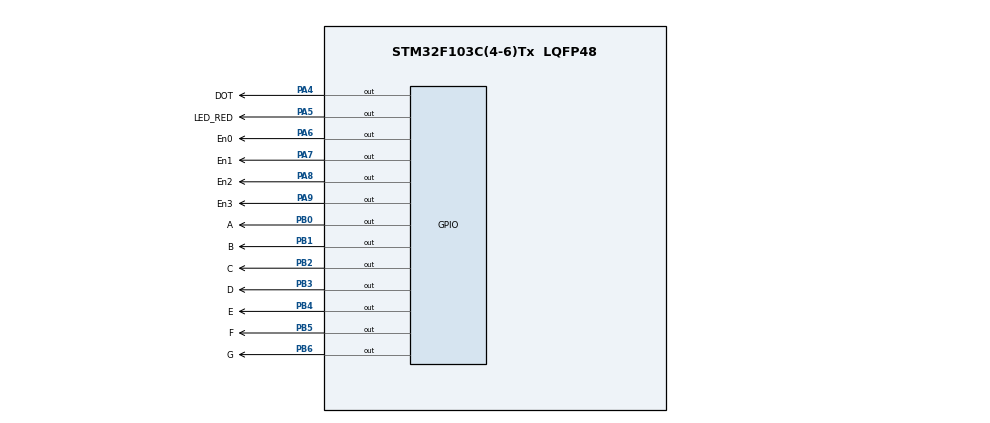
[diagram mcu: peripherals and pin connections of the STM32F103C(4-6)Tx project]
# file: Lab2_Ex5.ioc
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Mcu.Family=STM32F1
Mcu.Name=STM32F103C(4-6)Tx
Mcu.Package=LQFP48
NVIC.PriorityGroup=NVIC_PRIORITYGROUP_4
NVIC.TIM2_IRQn=true\:0\:0\:false\:false\:true\:true\:true
PA4.GPIO_Label=DOT
PA4.Signal=GPIO_Output
PA5.GPIO_Label=LED_RED
PA5.Signal=GPIO_Output
PA6.GPIO_Label=En0
PA6.Signal=GPIO_Output
PA7.GPIO_Label=En1
PA7.Signal=GPIO_Output
PA8.GPIO_Label=En2
PA8.Signal=GPIO_Output
PA9.GPIO_Label=En3
PA9.Signal=GPIO_Output
PB0.GPIO_Label=A
PB0.Signal=GPIO_Output
PB1.GPIO_Label=B
PB1.Signal=GPIO_Output
PB2.GPIO_Label=C
PB2.Signal=GPIO_Output
PB3.GPIO_Label=D
PB3.Signal=GPIO_Output
PB4.GPIO_Label=E
PB4.Signal=GPIO_Output
PB5.GPIO_Label=F
PB5.Signal=GPIO_Output
PB6.GPIO_Label=G
PB6.Signal=GPIO_Output
ProjectManager.HeapSize=0x200
ProjectManager.StackSize=0x400
ProjectManager.TargetToolchain=STM32CubeIDE
RCC.APB1Freq_Value=8000000
RCC.APB2Freq_Value=8000000
TIM2.Period=9
TIM2.Prescaler=7999
VP_SYS_VS_ND.Mode=No_Debug
VP_TIM2_VS_ClockSourceINT.Mode=Internal
board=custom

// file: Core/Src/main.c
/* USER CODE BEGIN Header */
/**
  ******************************************************************************
  * @file           : main.c
  * @brief          : Main program body
  ******************************************************************************
  * @attention
  *
  * <h2><center>&copy; Copyright (c) 2023 STMicroelectronics.
  * All rights reserved.</center></h2>
  *
  * This software component is licensed by ST under BSD 3-Clause license,
  * the "License"; You may not use this file except in compliance with the
  * License. You may obtain a copy of the License at:
  *                        opensource.org/licenses/BSD-3-Clause
  *
  ******************************************************************************
  */
/* USER CODE END Header */
#include "main.h"

TIM_HandleTypeDef htim2;

void SystemClock_Config(void);
static void MX_GPIO_Init(void);
static void MX_TIM2_Init(void);

/* USER CODE BEGIN 0 */
void display7SEG(int num) {
	switch(num) {
		case 0:
			HAL_GPIO_WritePin(A_GPIO_Port,A_Pin,RESET);
			HAL_GPIO_WritePin(B_GPIO_Port,B_Pin,RESET);
			HAL_GPIO_WritePin(C_GPIO_Port,C_Pin,RESET);
			HAL_GPIO_WritePin(D_GPIO_Port,D_Pin,RESET);
			HAL_GPIO_WritePin(E_GPIO_Port,E_Pin,RESET);
			HAL_GPIO_WritePin(F_GPIO_Port,F_Pin,RESET);
			HAL_GPIO_WritePin(G_GPIO_Port,G_Pin,SET);
			break;

		case 1:
			HAL_GPIO_WritePin(A_GPIO_Port,A_Pin,SET);
			HAL_GPIO_WritePin(B_GPIO_Port,B_Pin,RESET);
			HAL_GPIO_WritePin(C_GPIO_Port,C_Pin,RESET);
			HAL_GPIO_WritePin(D_GPIO_Port,D_Pin,SET);
			HAL_GPIO_WritePin(E_GPIO_Port,E_Pin,SET);
			HAL_GPIO_WritePin(F_GPIO_Port,F_Pin,SET);
			HAL_GPIO_WritePin(G_GPIO_Port,G_Pin,SET);
			break;

		case 2:
			HAL_GPIO_WritePin(A_GPIO_Port,A_Pin,RESET);
			HAL_GPIO_WritePin(B_GPIO_Port,B_Pin,RESET);
			HAL_GPIO_WritePin(C_GPIO_Port,C_Pin,SET);
			HAL_GPIO_WritePin(D_GPIO_Port,D_Pin,RESET);
			HAL_GPIO_WritePin(E_GPIO_Port,E_Pin,RESET);
			HAL_GPIO_WritePin(F_GPIO_Port,F_Pin,SET);
			HAL_GPIO_WritePin(G_GPIO_Port,G_Pin,RESET);
			break;

		case 3:
			HAL_GPIO_WritePin(A_GPIO_Port,A_Pin,RESET);
			HAL_GPIO_WritePin(B_GPIO_Port,B_Pin,RESET);
			HAL_GPIO_WritePin(C_GPIO_Port,C_Pin,RESET);
			HAL_GPIO_WritePin(D_GPIO_Port,D_Pin,RESET);
			HAL_GPIO_WritePin(E_GPIO_Port,E_Pin,SET);
			HAL_GPIO_WritePin(F_GPIO_Port,F_Pin,SET);
			HAL_GPIO_WritePin(G_GPIO_Port,G_Pin,RESET);
			break;

		case 4:
			HAL_GPIO_WritePin(A_GPIO_Port,A_Pin,SET);
			HAL_GPIO_WritePin(B_GPIO_Port,B_Pin,RESET);
			HAL_GPIO_WritePin(C_GPIO_Port,C_Pin,RESET);
			HAL_GPIO_WritePin(D_GPIO_Port,D_Pin,SET);
			HAL_GPIO_WritePin(E_GPIO_Port,E_Pin,SET);
			HAL_GPIO_WritePin(F_GPIO_Port,F_Pin,RESET);
			HAL_GPIO_WritePin(G_GPIO_Port,G_Pin,RESET);
			break;

		case 5:
			HAL_GPIO_WritePin(A_GPIO_Port,A_Pin,RESET);
			HAL_GPIO_WritePin(B_GPIO_Port,B_Pin,SET);
			HAL_GPIO_WritePin(C_GPIO_Port,C_Pin,RESET);
			HAL_GPIO_WritePin(D_GPIO_Port,D_Pin,RESET);
			HAL_GPIO_WritePin(E_GPIO_Port,E_Pin,SET);
			HAL_GPIO_WritePin(F_GPIO_Port,F_Pin,RESET);
			HAL_GPIO_WritePin(G_GPIO_Port,G_Pin,RESET);
			break;

		case 6:
			HAL_GPIO_WritePin(A_GPIO_Port,A_Pin,RESET);
			HAL_GPIO_WritePin(B_GPIO_Port,B_Pin,SET);
			HAL_GPIO_WritePin(C_GPIO_Port,C_Pin,RESET);
			HAL_GPIO_WritePin(D_GPIO_Port,D_Pin,RESET);
			HAL_GPIO_WritePin(E_GPIO_Port,E_Pin,RESET);
			HAL_GPIO_WritePin(F_GPIO_Port,F_Pin,RESET);
			HAL_GPIO_WritePin(G_GPIO_Port,G_Pin,RESET);
			break;

		case 7:
			HAL_GPIO_WritePin(A_GPIO_Port,A_Pin,RESET);
			HAL_GPIO_WritePin(B_GPIO_Port,B_Pin,RESET);
			HAL_GPIO_WritePin(C_GPIO_Port,C_Pin,RESET);
			HAL_GPIO_WritePin(D_GPIO_Port,D_Pin,SET);
			HAL_GPIO_WritePin(E_GPIO_Port,E_Pin,SET);
			HAL_GPIO_WritePin(F_GPIO_Port,F_Pin,SET);
			HAL_GPIO_WritePin(G_GPIO_Port,G_Pin,SET);
			break;

		case 8:
			HAL_GPIO_WritePin(A_GPIO_Port,A_Pin,RESET);
			HAL_GPIO_WritePin(B_GPIO_Port,B_Pin,RESET);
			HAL_GPIO_WritePin(C_GPIO_Port,C_Pin,RESET);
			HAL_GPIO_WritePin(D_GPIO_Port,D_Pin,RESET);
			HAL_GPIO_WritePin(E_GPIO_Port,E_Pin,RESET);
			HAL_GPIO_WritePin(F_GPIO_Port,F_Pin,RESET);
			HAL_GPIO_WritePin(G_GPIO_Port,G_Pin,RESET);
			break;

		case 9:
			HAL_GPIO_WritePin(A_GPIO_Port,A_Pin,RESET);
			HAL_GPIO_WritePin(B_GPIO_Port,B_Pin,RESET);
			HAL_GPIO_WritePin(C_GPIO_Port,C_Pin,RESET);
			HAL_GPIO_WritePin(D_GPIO_Port,D_Pin,RESET);
			HAL_GPIO_WritePin(E_GPIO_Port,E_Pin,SET);
			HAL_GPIO_WritePin(F_GPIO_Port,F_Pin,RESET);
			HAL_GPIO_WritePin(G_GPIO_Port,G_Pin,RESET);
			break;

		default:
			HAL_GPIO_WritePin(A_GPIO_Port,A_Pin,RESET);
			HAL_GPIO_WritePin(B_GPIO_Port,B_Pin,RESET);
			HAL_GPIO_WritePin(C_GPIO_Port,C_Pin,RESET);
			HAL_GPIO_WritePin(D_GPIO_Port,D_Pin,RESET);
			HAL_GPIO_WritePin(E_GPIO_Port,E_Pin,RESET);
			HAL_GPIO_WritePin(F_GPIO_Port,F_Pin,RESET);
			HAL_GPIO_WritePin(G_GPIO_Port,G_Pin,RESET);
	}
}
int led_buffer[4] = {0, 1 , 2 , 3};
void updateClockBuffer(int hour, int minute) {
	led_buffer[0] = hour / 10;
	led_buffer[1] = hour % 10;
	led_buffer[2] = minute / 10;
	led_buffer[3] = minute % 10;
}

/* USER CODE END 0 */

int main(void)
{

  /* MCU Configuration--------------------------------------------------------*/

  /* Reset of all peripherals, Initializes the Flash interface and the Systick. */
  HAL_Init();

  /* Configure the system clock */
  SystemClock_Config();

  /* Initialize all configured peripherals */
  MX_GPIO_Init();
  MX_TIM2_Init();
  /* USER CODE BEGIN 2 */
  HAL_TIM_Base_Start_IT(&htim2);

  /* USER CODE END 2 */
  int hour = 15 , minute = 8 , second = 50;
  /* Infinite loop */
  while (1)
  {
	  second++;
	  if(second >= 60){
		  second = 0;
	  	  minute++;
	  }
	  if(minute >= 60){
	  	  minute = 0;
	  	  hour++;
	  }
	  if(hour >= 24){
	  	  hour = 0;
	  }
	  updateClockBuffer(hour, minute);
	  HAL_Delay(1000);
  }
}

void SystemClock_Config(void)
{
  RCC_OscInitTypeDef RCC_OscInitStruct = {0};
  RCC_ClkInitTypeDef RCC_ClkInitStruct = {0};

  /** Initializes the RCC Oscillators according to the specified parameters
  * in the RCC_OscInitTypeDef structure.
  */
  RCC_OscInitStruct.OscillatorType = RCC_OSCILLATORTYPE_HSI;
  RCC_OscInitStruct.HSIState = RCC_HSI_ON;
  RCC_OscInitStruct.HSICalibrationValue = RCC_HSICALIBRATION_DEFAULT;
  RCC_OscInitStruct.PLL.PLLState = RCC_PLL_NONE;
  if (HAL_RCC_OscConfig(&RCC_OscInitStruct) != HAL_OK)
  {
    Error_Handler();
  }
  /** Initializes the CPU, AHB and APB buses clocks
  */
  RCC_ClkInitStruct.ClockType = RCC_CLOCKTYPE_HCLK|RCC_CLOCKTYPE_SYSCLK
                              |RCC_CLOCKTYPE_PCLK1|RCC_CLOCKTYPE_PCLK2;
  RCC_ClkInitStruct.SYSCLKSource = RCC_SYSCLKSOURCE_HSI;
  RCC_ClkInitStruct.AHBCLKDivider = RCC_SYSCLK_DIV1;
  RCC_ClkInitStruct.APB1CLKDivider = RCC_HCLK_DIV1;
  RCC_ClkInitStruct.APB2CLKDivider = RCC_HCLK_DIV1;

  if (HAL_RCC_ClockConfig(&RCC_ClkInitStruct, FLASH_LATENCY_0) != HAL_OK)
  {
    Error_Handler();
  }
}

static void MX_TIM2_Init(void)
{

  TIM_ClockConfigTypeDef sClockSourceConfig = {0};
  TIM_MasterConfigTypeDef sMasterConfig = {0};

  htim2.Instance = TIM2;
  htim2.Init.Prescaler = 7999;
  htim2.Init.CounterMode = TIM_COUNTERMODE_UP;
  htim2.Init.Period = 9;
  htim2.Init.ClockDivision = TIM_CLOCKDIVISION_DIV1;
  htim2.Init.AutoReloadPreload = TIM_AUTORELOAD_PRELOAD_DISABLE;
  if (HAL_TIM_Base_Init(&htim2) != HAL_OK)
  {
    Error_Handler();
  }
  sClockSourceConfig.ClockSource = TIM_CLOCKSOURCE_INTERNAL;
  if (HAL_TIM_ConfigClockSource(&htim2, &sClockSourceConfig) != HAL_OK)
  {
    Error_Handler();
  }
  sMasterConfig.MasterOutputTrigger = TIM_TRGO_RESET;
  sMasterConfig.MasterSlaveMode = TIM_MASTERSLAVEMODE_DISABLE;
  if (HAL_TIMEx_MasterConfigSynchronization(&htim2, &sMasterConfig) != HAL_OK)
  {
    Error_Handler();
  }

}

static void MX_GPIO_Init(void)
{
  GPIO_InitTypeDef GPIO_InitStruct = {0};

  /* GPIO Ports Clock Enable */
  __HAL_RCC_GPIOA_CLK_ENABLE();
  __HAL_RCC_GPIOB_CLK_ENABLE();

  /*Configure GPIO pin Output Level */
  HAL_GPIO_WritePin(GPIOA, DOT_Pin|LED_RED_Pin|En0_Pin|En1_Pin
                          |En2_Pin|En3_Pin, GPIO_PIN_RESET);

  /*Configure GPIO pin Output Level */
  HAL_GPIO_WritePin(GPIOB, A_Pin|B_Pin|C_Pin|D_Pin
                          |E_Pin|F_Pin|G_Pin, GPIO_PIN_RESET);

  /*Configure GPIO pins : DOT_Pin LED_RED_Pin En0_Pin En1_Pin
                           En2_Pin En3_Pin */
  GPIO_InitStruct.Pin = DOT_Pin|LED_RED_Pin|En0_Pin|En1_Pin
                          |En2_Pin|En3_Pin;
  GPIO_InitStruct.Mode = GPIO_MODE_OUTPUT_PP;
  GPIO_InitStruct.Pull = GPIO_NOPULL;
  GPIO_InitStruct.Speed = GPIO_SPEED_FREQ_LOW;
  HAL_GPIO_Init(GPIOA, &GPIO_InitStruct);

  /*Configure GPIO pins : A_Pin B_Pin C_Pin D_Pin
                           E_Pin F_Pin G_Pin */
  GPIO_InitStruct.Pin = A_Pin|B_Pin|C_Pin|D_Pin
                          |E_Pin|F_Pin|G_Pin;
  GPIO_InitStruct.Mode = GPIO_MODE_OUTPUT_PP;
  GPIO_InitStruct.Pull = GPIO_NOPULL;
  GPIO_InitStruct.Speed = GPIO_SPEED_FREQ_LOW;
  HAL_GPIO_Init(GPIOB, &GPIO_InitStruct);

}

/* USER CODE BEGIN 4 */
const int MAX_LED = 4;
int index_led = 0;
void update7SEG(int index){
	switch(index){
			case 0:
				HAL_GPIO_WritePin(En0_GPIO_Port, En0_Pin, RESET);
				HAL_GPIO_WritePin(En1_GPIO_Port, En1_Pin, SET);
				HAL_GPIO_WritePin(En2_GPIO_Port, En2_Pin, SET);
				HAL_GPIO_WritePin(En3_GPIO_Port, En3_Pin, SET);
				display7SEG(led_buffer[0]);
				break;
			case 1:
				HAL_GPIO_WritePin(En0_GPIO_Port, En0_Pin, SET);
				HAL_GPIO_WritePin(En1_GPIO_Port, En1_Pin, RESET);
				HAL_GPIO_WritePin(En2_GPIO_Port, En2_Pin, SET);
				HAL_GPIO_WritePin(En3_GPIO_Port, En3_Pin, SET);
				display7SEG(led_buffer[1]);
				break;
			case 2:
				HAL_GPIO_WritePin(En0_GPIO_Port, En0_Pin, SET);
				HAL_GPIO_WritePin(En1_GPIO_Port, En1_Pin, SET);
				HAL_GPIO_WritePin(En2_GPIO_Port, En2_Pin, RESET);
				HAL_GPIO_WritePin(En3_GPIO_Port, En3_Pin, SET);
				display7SEG(led_buffer[2]);
				break;
			case 3:
				HAL_GPIO_WritePin(En0_GPIO_Port, En0_Pin, SET);
				HAL_GPIO_WritePin(En1_GPIO_Port, En1_Pin, SET);
				HAL_GPIO_WritePin(En2_GPIO_Port, En2_Pin, SET);
				HAL_GPIO_WritePin(En3_GPIO_Port, En3_Pin, RESET);
				display7SEG(led_buffer[3]);
				break;
			default:
				HAL_GPIO_WritePin(En0_GPIO_Port, En0_Pin, RESET);
				HAL_GPIO_WritePin(En1_GPIO_Port, En1_Pin, RESET);
				HAL_GPIO_WritePin(En2_GPIO_Port, En2_Pin, RESET);
				HAL_GPIO_WritePin(En3_GPIO_Port, En3_Pin, RESET);
				display7SEG(0);
	}
}
int counter = 25;
int counter_DOT = 0;
void HAL_TIM_PeriodElapsedCallback(TIM_HandleTypeDef *htim){
	counter--;
	if(counter <= 0){
		counter = 25;
		if(index_led >= 4){
			index_led = 0;
		}
		update7SEG(index_led);
		index_led++;
		counter_DOT++;
		if(counter_DOT == 4){
			counter_DOT = 0;
			HAL_GPIO_TogglePin(DOT_GPIO_Port, DOT_Pin);
			HAL_GPIO_TogglePin(LED_RED_GPIO_Port, LED_RED_Pin);
		}
	}
}
/* USER CODE END 4 */

void Error_Handler(void)
{
  __disable_irq();
  while (1)
  {
  }
}

/************************ (C) COPYRIGHT STMicroelectronics *****END OF FILE****/
